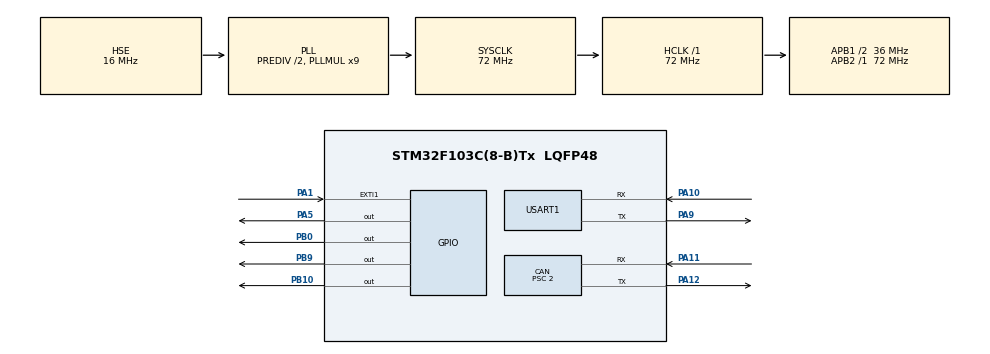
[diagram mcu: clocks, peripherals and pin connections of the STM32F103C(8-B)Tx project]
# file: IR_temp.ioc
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CAN.BS1=CAN_BS1_15TQ
CAN.BS2=CAN_BS2_2TQ
CAN.CalculateBaudRate=1000000
CAN.CalculateTimeBit=1000
CAN.CalculateTimeQuantum=55.55555555555556
CAN.Prescaler=2
Mcu.Family=STM32F1
Mcu.Name=STM32F103C(8-B)Tx
Mcu.Package=LQFP48
NVIC.CAN1_RX1_IRQn=true\:0\:0\:false\:false\:true\:true\:true\:true
NVIC.CAN1_SCE_IRQn=true\:0\:0\:false\:false\:true\:true\:true\:true
NVIC.EXTI1_IRQn=true\:5\:0\:true\:false\:true\:true\:true\:true
NVIC.PriorityGroup=NVIC_PRIORITYGROUP_4
NVIC.TIM1_UP_IRQn=true\:15\:0\:false\:false\:true\:false\:true\:true
NVIC.TIM2_IRQn=true\:0\:0\:false\:false\:true\:true\:true\:true
NVIC.TIM3_IRQn=true\:0\:0\:false\:false\:true\:true\:true\:true
NVIC.TimeBase=TIM1_UP_IRQn
NVIC.TimeBaseIP=TIM1
NVIC.USART1_IRQn=true\:0\:0\:false\:false\:true\:true\:true\:true
PA1.GPIO_ModeDefaultEXTI=GPIO_MODE_IT_RISING_FALLING
PA1.GPIO_PuPd=GPIO_NOPULL
PA1.Signal=GPXTI1
PA10.Mode=Asynchronous
PA10.Signal=USART1_RX
PA11.Mode=CAN_Activate
PA11.Signal=CAN_RX
PA12.Mode=CAN_Activate
PA12.Signal=CAN_TX
PA13.Mode=Serial_Wire
PA13.Signal=SYS_JTMS-SWDIO
PA14.Mode=Serial_Wire
PA14.Signal=SYS_JTCK-SWCLK
PA5.Signal=GPIO_Output
PA9.Mode=Asynchronous
PA9.Signal=USART1_TX
PB0.Signal=GPIO_Output
PB10.Signal=GPIO_Output
PB9.Signal=GPIO_Output
PD0-OSC_IN.Mode=HSE-External-Oscillator
PD0-OSC_IN.Signal=RCC_OSC_IN
PD1-OSC_OUT.Mode=HSE-External-Oscillator
PD1-OSC_OUT.Signal=RCC_OSC_OUT
ProjectManager.HeapSize=0x200
ProjectManager.StackSize=0x400
ProjectManager.TargetToolchain=MDK-ARM V5.32
RCC.AHBFreq_Value=72000000
RCC.APB1CLKDivider=RCC_HCLK_DIV2
RCC.APB1Freq_Value=36000000
RCC.APB1TimFreq_Value=72000000
RCC.APB2Freq_Value=72000000
RCC.APB2TimFreq_Value=72000000
RCC.HCLKFreq_Value=72000000
RCC.HSEDivPLL=RCC_HSE_PREDIV_DIV2
RCC.HSE_VALUE=16000000
RCC.PLLMUL=RCC_PLL_MUL9
RCC.PLLSourceVirtual=RCC_PLLSOURCE_HSE
RCC.SYSCLKFreq_VALUE=72000000
RCC.SYSCLKSource=RCC_SYSCLKSOURCE_PLLCLK
RCC.USBFreq_Value=72000000
TIM2.AutoReloadPreload=TIM_AUTORELOAD_PRELOAD_ENABLE
TIM2.Period=404
TIM2.Prescaler=49
TIM3.AutoReloadPreload=TIM_AUTORELOAD_PRELOAD_ENABLE
TIM3.Period=999
TIM3.Prescaler=35
USART1.VirtualMode=VM_ASYNC
VP_SYS_VS_tim1.Mode=TIM1
VP_TIM2_VS_ClockSourceINT.Mode=Internal
VP_TIM3_VS_ClockSourceINT.Mode=Internal
board=custom

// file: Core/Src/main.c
/* USER CODE BEGIN Header */
/**
  ******************************************************************************
  * @file           : main.c
  * @brief          : Main program body
  ******************************************************************************
  * @attention
  *
  * Copyright (c) 2026 STMicroelectronics.
  * All rights reserved.
  *
  * This software is licensed under terms that can be found in the LICENSE file
  * in the root directory of this software component.
  * If no LICENSE file comes with this software, it is provided AS-IS.
  *
  ******************************************************************************
  */
/* USER CODE END Header */
#include "main.h"
#include "can.h"
#include "tim.h"
#include "usart.h"
#include "gpio.h"

/* USER CODE BEGIN Includes */
#include "IR.h"
#include "string.h"
/* USER CODE END Includes */

/* USER CODE BEGIN PV */
ir_data_t ir_data;
int16_t watch[5]={0};
extern uint8_t try[20];
//0-cnt_rx
/* USER CODE END PV */

void SystemClock_Config(void);

int main(void)
{

  /* MCU Configuration--------------------------------------------------------*/

  /* Reset of all peripherals, Initializes the Flash interface and the Systick. */
  HAL_Init();

  /* Configure the system clock */
  SystemClock_Config();

  /* Initialize all configured peripherals */
  MX_GPIO_Init();
  MX_CAN_Init();
  MX_TIM2_Init();
  MX_TIM3_Init();
  MX_USART1_UART_Init();
  /* USER CODE BEGIN 2 */
	HAL_TIM_Base_Start_IT(&htim2);
	HAL_TIM_Base_Start_IT(&htim3);
	memcpy(ir_data.data_tx,try,20);
	HAL_GPIO_WritePin(ir_power_port,ir_power_pin,1);
  /* USER CODE END 2 */

  /* Infinite loop */
  while (1)
  {

  }
}

void SystemClock_Config(void)
{
  RCC_OscInitTypeDef RCC_OscInitStruct = {0};
  RCC_ClkInitTypeDef RCC_ClkInitStruct = {0};

  /** Initializes the RCC Oscillators according to the specified parameters
  * in the RCC_OscInitTypeDef structure.
  */
  RCC_OscInitStruct.OscillatorType = RCC_OSCILLATORTYPE_HSE;
  RCC_OscInitStruct.HSEState = RCC_HSE_ON;
  RCC_OscInitStruct.HSEPredivValue = RCC_HSE_PREDIV_DIV2;
  RCC_OscInitStruct.HSIState = RCC_HSI_ON;
  RCC_OscInitStruct.PLL.PLLState = RCC_PLL_ON;
  RCC_OscInitStruct.PLL.PLLSource = RCC_PLLSOURCE_HSE;
  RCC_OscInitStruct.PLL.PLLMUL = RCC_PLL_MUL9;
  if (HAL_RCC_OscConfig(&RCC_OscInitStruct) != HAL_OK)
  {
    Error_Handler();
  }

  /** Initializes the CPU, AHB and APB buses clocks
  */
  RCC_ClkInitStruct.ClockType = RCC_CLOCKTYPE_HCLK|RCC_CLOCKTYPE_SYSCLK
                              |RCC_CLOCKTYPE_PCLK1|RCC_CLOCKTYPE_PCLK2;
  RCC_ClkInitStruct.SYSCLKSource = RCC_SYSCLKSOURCE_PLLCLK;
  RCC_ClkInitStruct.AHBCLKDivider = RCC_SYSCLK_DIV1;
  RCC_ClkInitStruct.APB1CLKDivider = RCC_HCLK_DIV2;
  RCC_ClkInitStruct.APB2CLKDivider = RCC_HCLK_DIV1;

  if (HAL_RCC_ClockConfig(&RCC_ClkInitStruct, FLASH_LATENCY_2) != HAL_OK)
  {
    Error_Handler();
  }
}

/* USER CODE BEGIN 4 */

void HAL_GPIO_EXTI_Callback(uint16_t GPIO_Pin) {
    if (GPIO_Pin == GPIO_PIN_1) {
        if(HAL_GPIO_ReadPin(ir_input_port, ir_input_pin) == GPIO_PIN_RESET){
						HAL_GPIO_WritePin(ir_input_flag_port,ir_input_flag_pin,1);//指示灯
            if(ir_data.cnt_rx >= ir_period_one-1 & ir_data.cnt_rx <= ir_period_one+1){
                ir_data.data_rx[ir_data.ptr_rx/8] |= (1 << (ir_data.ptr_rx%8));
            }
            else if(ir_data.cnt_rx >= ir_period_zero-1 & ir_data.cnt_rx <= ir_period_zero+1){
                ir_data.data_rx[ir_data.ptr_rx/8] &= ~(1 << (ir_data.ptr_rx%8));
            }
            if(ir_data.ptr_rx<8*ir_data_len){
                ir_data.ptr_rx++;
            }
            else{
                ir_data.ptr_rx=0;
            }
            ir_data.flag_rx=IR_rx_done;
        }
        else{//(HAL_GPIO_ReadPin(ir_input_port, ir_input_pin) == GPIO_PIN_SET)
						HAL_GPIO_WritePin(ir_input_flag_port,ir_input_flag_pin,0);
            ir_data.flag_rx=IR_rx_receiving;
        }
        ir_data.cnt_rx=0;
    }
}

/* USER CODE END 4 */

void HAL_TIM_PeriodElapsedCallback(TIM_HandleTypeDef *htim)
{
  if (htim->Instance == TIM1) {
    HAL_IncTick();
  }
  /* USER CODE BEGIN Callback 1 */
	if(htim->Instance == TIM2){

		if(ir_data.flag_tx!=IR_tx_transmiting){
			IR_data_upload(try);
		}
    IR_step();
	}
  /* USER CODE END Callback 1 */
}

void Error_Handler(void)
{
  /* USER CODE BEGIN Error_Handler_Debug */
  /* User can add his own implementation to report the HAL error return state */
  __disable_irq();
  watch[1]=1145;
  while (1)
  {
  }
  /* USER CODE END Error_Handler_Debug */
}
